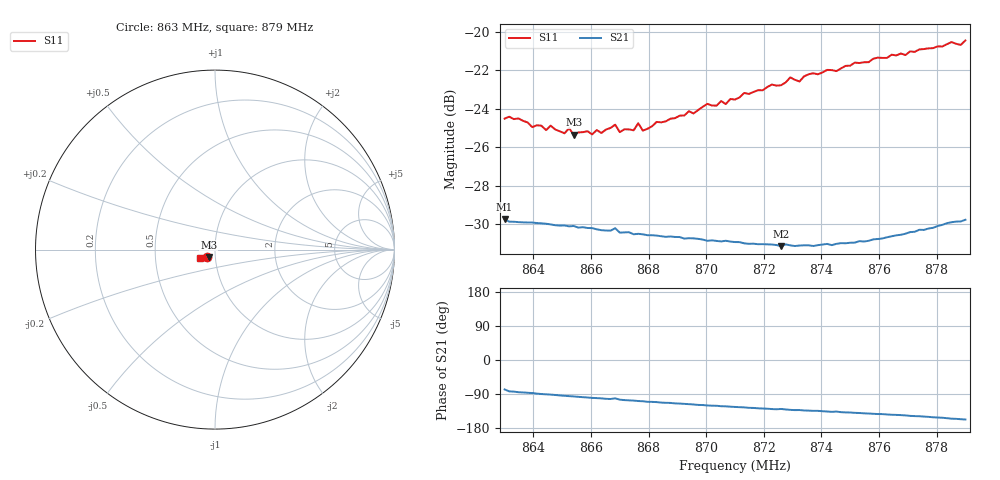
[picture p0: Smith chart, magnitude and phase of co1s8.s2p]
# HZ S RI R 50
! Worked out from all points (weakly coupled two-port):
!   101 points, 863 MHz to 879 MHz, reference 50 ohm
!   highest |S21| = -29.73 dB at 863 MHz (marker M1); lowest = -31.1 dB at 872.6 MHz (marker M2)
!   lowest |S11| = -25.3 dB at 865.4 MHz (marker M3), VSWR 1.11, Z = 46.5 - j3.84 ohm
!   |S11| at or under -10 dB: start of sweep to end of sweep
!   S12 and S22 are empty: the file has one direction only
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8.63e8  -0.0427 -0.0414  0.00697 -0.0319  0 0  0 0
8.6444e8  -0.0385 -0.04  -0.000299 -0.0317  0 0  0 0
8.646e8  -0.0396 -0.0411  -0.000705 -0.0316  0 0  0 0
8.6508e8  -0.0353 -0.0415  -0.00243 -0.0313  0 0  0 0
8.6524e8  -0.0379 -0.0415  -0.00292 -0.0311  0 0  0 0
8.654e8  -0.035 -0.0412  -0.00334 -0.0311  0 0  0 0
8.6572e8  -0.0343 -0.0428  -0.00438 -0.0307  0 0  0 0
8.6636e8  -0.0334 -0.0432  -0.00594 -0.0299  0 0  0 0
8.6684e8  -0.0321 -0.0476  -0.00597 -0.0303  0 0  0 0
8.67e8  -0.032 -0.0446  -0.00761 -0.0291  0 0  0 0
8.6748e8  -0.0308 -0.0461  -0.00874 -0.0284  0 0  0 0
8.6764e8  -0.0327 -0.0477  -0.00936 -0.0283  0 0  0 0
8.678e8  -0.0303 -0.0464  -0.00959 -0.0282  0 0  0 0
8.6844e8  -0.0318 -0.0487  -0.0112 -0.0272  0 0  0 0
8.7004e8  -0.0343 -0.0552  -0.0143 -0.0248  0 0  0 0
8.71e8  -0.0366 -0.0558  -0.0158 -0.0236  0 0  0 0
8.726e8  -0.0418 -0.0594  -0.0175 -0.0215  0 0  0 0
8.7292e8  -0.047 -0.06  -0.0185 -0.0208  0 0  0 0
8.7324e8  -0.0452 -0.059  -0.0186 -0.0207  0 0  0 0
8.7372e8  -0.0488 -0.0609  -0.0193 -0.0199  0 0  0 0
8.7644e8  -0.0666 -0.0564  -0.0239 -0.0171  0 0  0 0
8.79e8  -0.0831 -0.0461  -0.0299 -0.0127  0 0  0 0
